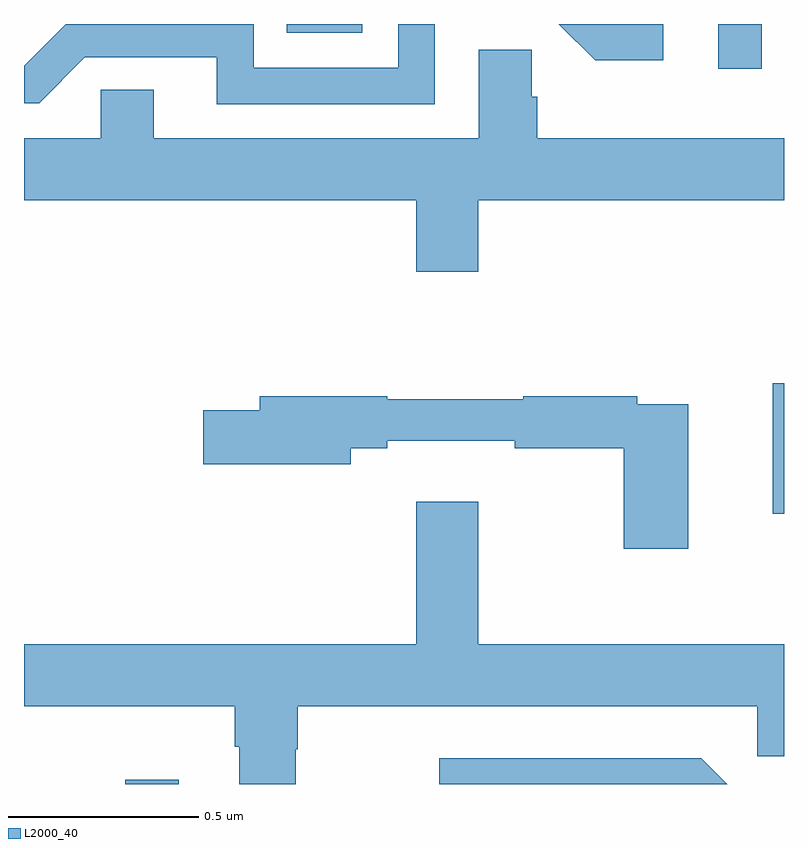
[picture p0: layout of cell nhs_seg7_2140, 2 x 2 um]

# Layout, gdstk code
import gdstk
lib = gdstk.Library(unit=1e-6, precision=1e-09)
def R(c, l, rs):  # rectangles x0, y0, x1, y1
    for r in rs: c.add(gdstk.rectangle(r[:2], r[2:], *l))
def P(c, l, *ps):  # polygons
    for p in ps: c.add(gdstk.Polygon(p, *l))
L2000_40 = (2000, 40)

nhs_seg7_2140 = lib.new_cell('nhs_seg7_2140')
R(nhs_seg7_2140, L2000_40, [(140.266,1079,140.407,1079.011), (141.971,1079.711,142,1080.055), (141.827,1080.882,141.942,1081), (140.692,1080.977,140.89,1081)])
P(nhs_seg7_2140, L2000_40, [(141.682,1081),(141.407,1081),(141.503,1080.905),(141.682,1080.905)],
  [(141.081,1081),(140.985,1081),(140.985,1080.885),(140.604,1080.885),(140.604,1081),(140.11,1081),(140,1080.89),(140,1080.792),(140.04,1080.792),(140.16,1080.912),(140.507,1080.912),(140.507,1080.789),(141.081,1080.789)],
  [(141.196,1080.536),(142,1080.536),(142,1080.7),(141.35,1080.7),(141.35,1080.809),(141.336,1080.809),(141.336,1080.932),(141.197,1080.932),(141.197,1080.7),(140.341,1080.7),(140.341,1080.827),(140.202,1080.827),(140.202,1080.7),(140,1080.7),(140,1080.536),(141.032,1080.536),(141.032,1080.348),(141.196,1080.348)],
  [(141.748,1080),(141.614,1080),(141.614,1080.02),(141.314,1080.02),(141.314,1080.013),(140.956,1080.013),(140.956,1080.02),(140.621,1080.02),(140.621,1079.984),(140.472,1079.984),(140.472,1079.842),(140.86,1079.842),(140.86,1079.884),(140.956,1079.884),(140.956,1079.903),(141.292,1079.903),(141.292,1079.884),(141.578,1079.884),(141.578,1079.619),(141.748,1079.619)],
  [(140.715,1079.091),(140.72,1079.091),(140.72,1079.204),(141.93,1079.204),(141.93,1079.073),(142,1079.073),(142,1079.368),(141.196,1079.368),(141.196,1079.743),(141.032,1079.743),(141.032,1079.368),(140,1079.368),(140,1079.204),(140.555,1079.204),(140.555,1079.098),(140.567,1079.098),(140.567,1079),(140.715,1079)],
  [(141.782,1079.068),(141.093,1079.068),(141.093,1079),(141.85,1079)])

lib.write_gds('nhs_seg7_2140.gds')
